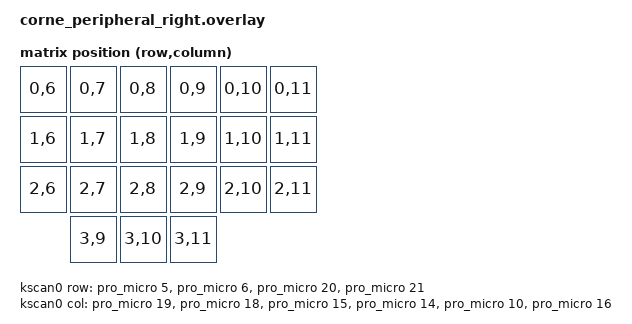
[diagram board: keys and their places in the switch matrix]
/*
 * Copyright (c) 2024 The ZMK Contributors
 *
 * SPDX-License-Identifier: MIT
 */

#include <dt-bindings/zmk/matrix_transform.h>

/ {
    chosen {
        zmk,kscan = &kscan0;
        zmk,matrix-transform = &default_transform;
    };

    default_transform: keymap_transform_0 {
        compatible = "zmk,matrix-transform";
        columns = <12>;
        rows = <4>;
        
        // Right side only (last 6 columns)
        map = <
        RC(0,6) RC(0,7) RC(0,8) RC(0,9) RC(0,10) RC(0,11)
        RC(1,6) RC(1,7) RC(1,8) RC(1,9) RC(1,10) RC(1,11)
        RC(2,6) RC(2,7) RC(2,8) RC(2,9) RC(2,10) RC(2,11)
                RC(3,9) RC(3,10) RC(3,11)
        >;
    };

    kscan0: kscan {
        compatible = "zmk,kscan-gpio-matrix";
        diode-direction = "col2row";
        wakeup-source;

        col-gpios
            = <&pro_micro 19 GPIO_ACTIVE_HIGH>
            , <&pro_micro 18 GPIO_ACTIVE_HIGH>
            , <&pro_micro 15 GPIO_ACTIVE_HIGH>
            , <&pro_micro 14 GPIO_ACTIVE_HIGH>
            , <&pro_micro 10 GPIO_ACTIVE_HIGH>
            , <&pro_micro 16 GPIO_ACTIVE_HIGH>
            ;

        row-gpios
            = <&pro_micro 5 (GPIO_ACTIVE_HIGH | GPIO_PULL_DOWN)>
            , <&pro_micro 6 (GPIO_ACTIVE_HIGH | GPIO_PULL_DOWN)>
            , <&pro_micro 20 (GPIO_ACTIVE_HIGH | GPIO_PULL_DOWN)>
            , <&pro_micro 21 (GPIO_ACTIVE_HIGH | GPIO_PULL_DOWN)>
            ;
    };
};
